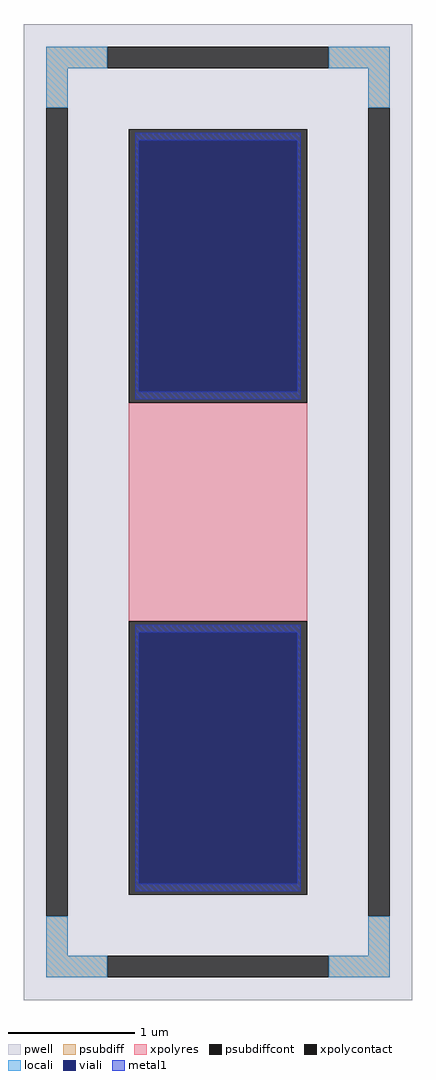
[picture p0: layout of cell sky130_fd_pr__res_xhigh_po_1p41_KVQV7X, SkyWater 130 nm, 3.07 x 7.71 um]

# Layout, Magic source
magic
tech sky130A
magscale 1 2
<< pwell >>
rect -307 -771 307 771
<< psubdiff >>
rect -271 701 -175 735
rect 175 701 271 735
rect -271 639 -237 701
rect 237 639 271 701
rect -271 -701 -237 -639
rect 237 -701 271 -639
rect -271 -735 -175 -701
rect 175 -735 271 -701
<< psubdiffcont >>
rect -175 701 175 735
rect -271 -639 -237 639
rect 237 -639 271 639
rect -175 -735 175 -701
<< xpolycontact >>
rect -141 173 141 605
rect -141 -605 141 -173
<< xpolyres >>
rect -141 -173 141 173
<< locali >>
rect -271 701 -175 735
rect 175 701 271 735
rect -271 639 -237 701
rect 237 639 271 701
rect -271 -701 -237 -639
rect 237 -701 271 -639
rect -271 -735 -175 -701
rect 175 -735 271 -701
<< viali >>
rect -125 190 125 587
rect -125 -587 125 -190
<< metal1 >>
rect -131 587 131 599
rect -131 190 -125 587
rect 125 190 131 587
rect -131 178 131 190
rect -131 -190 131 -178
rect -131 -587 -125 -190
rect 125 -587 131 -190
rect -131 -599 131 -587
<< properties >>
string FIXED_BBOX -254 -718 254 718
string gencell sky130_fd_pr__res_xhigh_po_1p41
string library sky130
string parameters w 1.410 l 1.886 m 1 nx 1 wmin 1.410 lmin 0.50 rho 2000 val 2.942k dummy 0 dw 0.0 term 188.2 sterm 0.0 caplen 0 wmax 1.410 guard 1 glc 1 grc 1 gtc 1 gbc 1 compatible {sky130_fd_pr__res_xhigh_po_0p35  sky130_fd_pr__res_xhigh_po_0p69 sky130_fd_pr__res_xhigh_po_1p41  sky130_fd_pr__res_xhigh_po_2p85 sky130_fd_pr__res_xhigh_po_5p73} snake 0 full_metal 1 n_guard 0 hv_guard 0 vias 1 viagb 0 viagt 0 viagl 0 viagr 0
<< end >>
